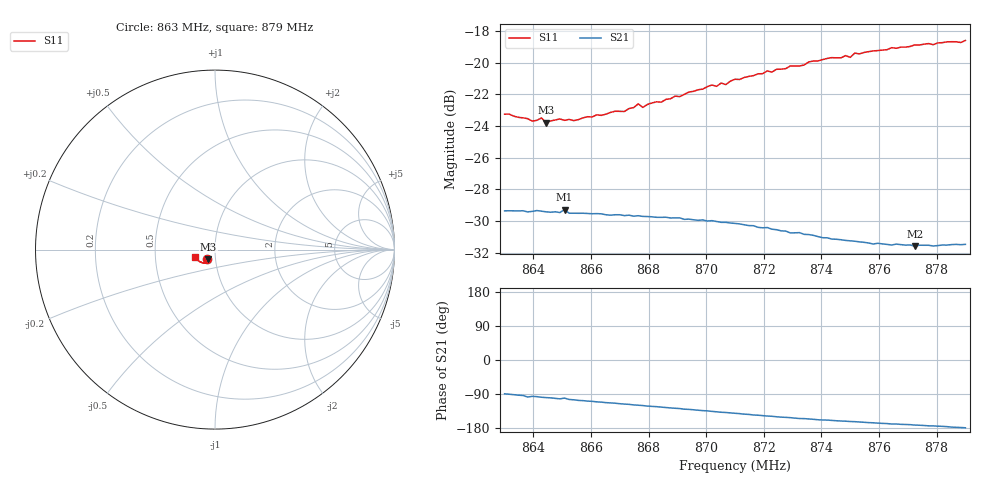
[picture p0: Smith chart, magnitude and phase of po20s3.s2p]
# HZ S RI R 50
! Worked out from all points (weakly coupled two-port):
!   101 points, 863 MHz to 879 MHz, reference 50 ohm
!   highest |S21| = -29.27 dB at 865.08 MHz (marker M1); lowest = -31.6 dB at 877.24 MHz (marker M2)
!   lowest |S11| = -23.8 dB at 864.44 MHz (marker M3), VSWR 1.14, Z = 46.1 - j4.89 ohm
!   |S11| at or under -10 dB: start of sweep to end of sweep
!   S12 and S22 are empty: the file has one direction only
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8.63e8  -0.0434 -0.0534  0.000515 -0.0341  0 0  0 0
8.6396e8  -0.0383 -0.053  -0.00348 -0.0338  0 0  0 0
8.6428e8  -0.037 -0.0558  -0.00489 -0.0336  0 0  0 0
8.6444e8  -0.0374 -0.0528  -0.00543 -0.0334  0 0  0 0
8.6492e8  -0.0362 -0.0557  -0.00729 -0.0329  0 0  0 0
8.6508e8  -0.032 -0.0575  -0.0063 -0.0338  0 0  0 0
8.6524e8  -0.0349 -0.0563  -0.00816 -0.0325  0 0  0 0
8.6572e8  -0.0334 -0.0581  -0.00992 -0.032  0 0  0 0
8.6716e8  -0.0338 -0.0615  -0.0146 -0.0295  0 0  0 0
8.6764e8  -0.0358 -0.0649  -0.0161 -0.0287  0 0  0 0
8.678e8  -0.0351 -0.0631  -0.0165 -0.0283  0 0  0 0
8.6844e8  -0.0363 -0.0657  -0.0183 -0.0269  0 0  0 0
8.702e8  -0.0439 -0.0728  -0.0227 -0.0222  0 0  0 0
8.7068e8  -0.0459 -0.0719  -0.0235 -0.0208  0 0  0 0
8.71e8  -0.0493 -0.0737  -0.024 -0.0198  0 0  0 0
8.7372e8  -0.0681 -0.075  -0.0262 -0.0114  0 0  0 0
8.7484e8  -0.0779 -0.0709  -0.0261 -0.00874  0 0  0 0
8.75e8  -0.0776 -0.0692  -0.0261 -0.00832  0 0  0 0
8.7516e8  -0.0812 -0.0701  -0.0261 -0.00813  0 0  0 0
8.7644e8  -0.0922 -0.0628  -0.0261 -0.00507  0 0  0 0
8.7724e8  -0.0986 -0.0568  -0.0261 -0.00379  0 0  0 0
8.79e8  -0.1105 -0.0401  -0.0267 -0.000539  0 0  0 0
